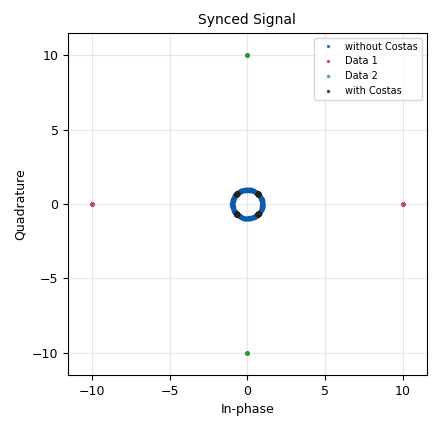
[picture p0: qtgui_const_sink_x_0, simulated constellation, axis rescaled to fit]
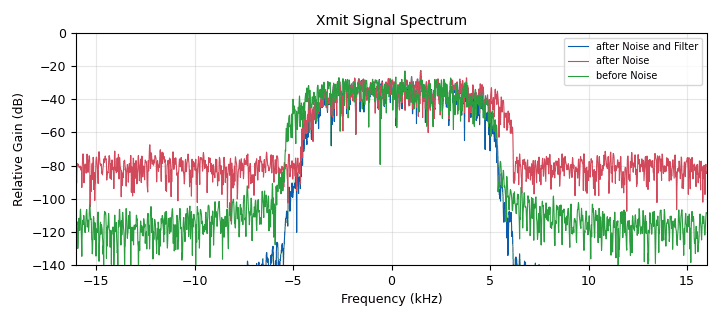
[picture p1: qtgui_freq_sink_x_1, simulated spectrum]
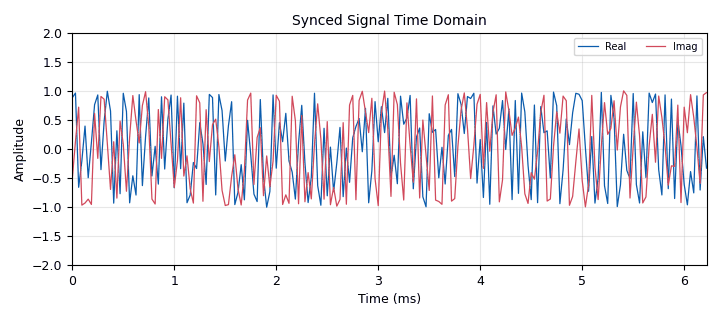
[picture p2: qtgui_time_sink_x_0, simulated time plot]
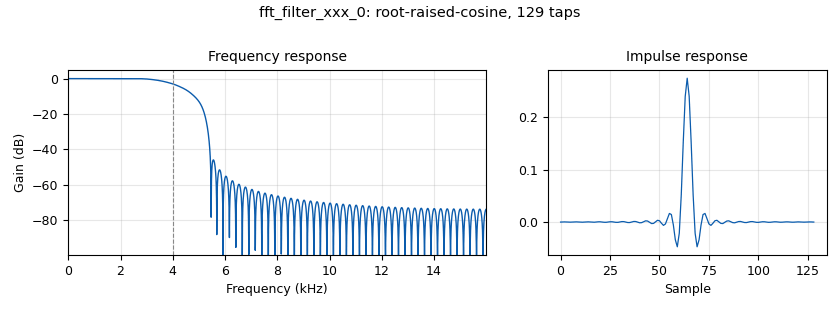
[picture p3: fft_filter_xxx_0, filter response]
options:
  parameters:
    author: Barry Duggan, modified by Gary Schafer
    category: Custom
    generate_options: qt_gui
    id: qpsk_stage3_ver2
    output_language: python
    title: qpsk_stage3_ver2
  states: {}

blocks:
- name: excess_bw
  id: variable
  parameters:
    value: '0.35'
  states: {}
- name: freq_offset
  id: variable_qtgui_range
  parameters:
    gui_hint: 0,10,1,10
    label: 'Channel: Frequency Offset'
    orient: Qt.Horizontal
    start: '-0.1'
    step: '0.001'
    stop: '0.1'
    value: '0.025'
  states: {}
- name: nfilts
  id: variable
  parameters:
    value: '32'
  states: {}
- name: noise_volt
  id: variable_qtgui_range
  parameters:
    gui_hint: 0,0,1,10
    label: 'Channel: Noise Voltage'
    orient: Qt.Horizontal
    start: '0'
    step: '0.01'
    stop: '1'
    value: '0.01'
  states: {}
- name: phase_bw
  id: variable
  parameters:
    value: '0.0628'
  states: {}
- name: qpsk
  id: variable_constellation_rect
  parameters:
    const_points: '[0.707+0.707j, -0.707+0.707j, -0.707-0.707j, 0.707-0.707j]'
    imag_sect: '2'
    real_sect: '2'
    rot_sym: '4'
    sym_map: '[0, 1, 2, 3]'
    w_imag_sect: '1'
    w_real_sect: '1'
  states: {}
- name: rrc_taps
  id: variable
  parameters:
    comment: 'Value: firdes.root_raised_cosine(1,samp_rate, samp_rate/float(sps), excess_bw, sps*nfilts)'
    value: firdes.root_raised_cosine(1,samp_rate, samp_rate/float(sps), excess_bw, sps*nfilts)
  states: {}
- name: samp_rate
  id: variable
  parameters:
    value: '32000'
  states: {}
- name: sps
  id: variable
  parameters:
    value: '4'
  states: {}
- name: time_offset
  id: variable_qtgui_range
  parameters:
    gui_hint: 1,0,1,10
    label: 'Channel: Timing Offset'
    orient: Qt.Horizontal
    start: '0.999'
    step: '0.0001'
    stop: '1.001'
    value: '1.0005'
  states: {}
- name: analog_random_source_x_0
  id: analog_random_source_x
  parameters:
    max: '256'
    min: '0'
    num_samps: '10000'
    repeat: 'True'
    type: byte
  states: {}
- name: blocks_throttle_0
  id: blocks_throttle
  parameters:
    samples_per_second: samp_rate
    type: complex
  states: {}
- name: blocks_vector_source_x_0
  id: blocks_vector_source_x
  parameters:
    repeat: 'True'
    type: complex
    vector: (10, -10)
  states: {}
- name: blocks_vector_source_x_0_0
  id: blocks_vector_source_x
  parameters:
    repeat: 'True'
    type: complex
    vector: (10j, -10j)
  states: {}
- name: channels_channel_model_0
  id: channels_channel_model
  parameters:
    comment: Epsilon is the time offset
    epsilon: time_offset
    freq_offset: freq_offset
    noise_voltage: noise_volt
    seed: '0'
    taps: '1'
  states: {}
- name: digital_constellation_modulator_0
  id: digital_constellation_modulator
  parameters:
    constellation: qpsk
    differential: 'True'
    excess_bw: excess_bw
    samples_per_symbol: sps
  states: {}
- name: digital_costas_loop_cc_0
  id: digital_costas_loop_cc
  parameters:
    order: '4'
    w: phase_bw
  states: {}
- name: digital_symbol_sync_xx_0
  id: digital_symbol_sync_xx
  parameters:
    damping: '1.0'
    loop_bw: '0.045'
    max_dev: '1.5'
    osps: '1'
    resamp_type: digital.IR_MMSE_8TAP
    sps: sps
    ted_gain: '1.0'
    ted_type: digital.TED_SIGNAL_TIMES_SLOPE_ML
    type: cc
  states: {}
- name: fft_filter_xxx_0
  id: fft_filter_xxx
  parameters:
    decim: '1'
    taps: rrc_taps
    type: ccc
  states: {}
- name: qtgui_const_sink_x_0
  id: qtgui_const_sink_x
  parameters:
    alpha2: '0.3'
    alpha3: '0.3'
    color2: '"green"'
    color4: '"red"'
    gui_hint: 2,10,10,10
    label1: without Costas
    label4: with Costas
    marker2: '-1'
    marker3: '-1'
    name: Synced Signal
    nconnections: '4'
    size: '1024'
    style2: '1'
    style3: '1'
    type: complex
    width2: '2'
    width3: '2'
  states: {}
- name: qtgui_freq_sink_x_1
  id: qtgui_freq_sink_x
  parameters:
    bw: samp_rate
    fc: '0'
    fftsize: '2048'
    grid: 'True'
    gui_hint: 2,0,10,10
    label1: 'after Noise and Filter '
    label2: after Noise
    label3: before Noise
    name: Xmit Signal Spectrum
    nconnections: '3'
    type: complex
    wintype: firdes.WIN_BLACKMAN_hARRIS
    ymax: '0'
  states: {}
- name: qtgui_time_sink_x_0
  id: qtgui_time_sink_x
  parameters:
    gui_hint: 12,0,10,20
    label1: Real
    label2: Imag
    name: Synced Signal Time Domain
    size: '200'
    srate: samp_rate
    type: complex
    ymax: '2'
    ymin: '-2'
  states: {}
- name: virtual_sink_0
  id: virtual_sink
  parameters:
    stream_id: noisySignal
  states: {}
- name: virtual_source_0
  id: virtual_source
  parameters:
    stream_id: noisySignal
  states: {}
- name: virtual_source_0_0
  id: virtual_source
  parameters:
    stream_id: noisySignal
  states: {}

connections:
- [analog_random_source_x_0, '0', digital_constellation_modulator_0, '0']
- [blocks_throttle_0, '0', channels_channel_model_0, '0']
- [blocks_throttle_0, '0', qtgui_freq_sink_x_1, '2']
- [blocks_vector_source_x_0, '0', qtgui_const_sink_x_0, '1']
- [blocks_vector_source_x_0_0, '0', qtgui_const_sink_x_0, '2']
- [channels_channel_model_0, '0', virtual_sink_0, '0']
- [digital_constellation_modulator_0, '0', blocks_throttle_0, '0']
- [digital_costas_loop_cc_0, '0', qtgui_const_sink_x_0, '3']
- [digital_symbol_sync_xx_0, '0', digital_costas_loop_cc_0, '0']
- [digital_symbol_sync_xx_0, '0', qtgui_const_sink_x_0, '0']
- [digital_symbol_sync_xx_0, '0', qtgui_time_sink_x_0, '0']
- [fft_filter_xxx_0, '0', digital_symbol_sync_xx_0, '0']
- [fft_filter_xxx_0, '0', qtgui_freq_sink_x_1, '0']
- [virtual_source_0, '0', fft_filter_xxx_0, '0']
- [virtual_source_0_0, '0', qtgui_freq_sink_x_1, '1']

metadata:
  file_format: 1
